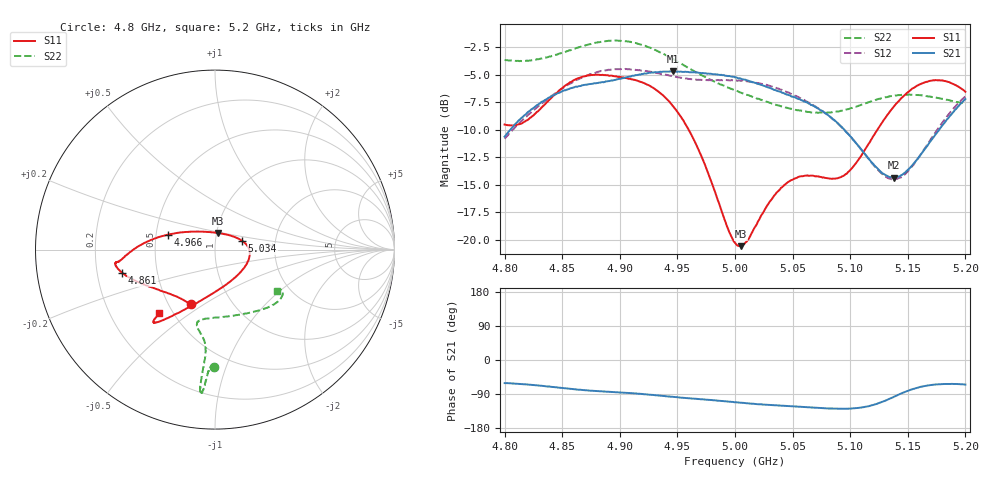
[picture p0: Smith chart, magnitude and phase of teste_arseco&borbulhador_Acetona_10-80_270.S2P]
! Network Analyzer HP8722D
! Hewlett-Packard
! Data name: Linha & Wilkinson
! Saver's name: Rodrigo Anjos
! Comments: Teste da utilização de aquisição
! continua pelo VNA HP8722D
! Time and date: 17/4/2025 16:36
!  Frequency  S11  S21  S12  S22
# HZ  S  MA R 50
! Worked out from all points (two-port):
!   401 points, 4.8 GHz to 5.2 GHz, reference 50 ohm
!   highest |S21| = -4.70 dB at 4.946 GHz (marker M1); lowest = -14.3 dB at 5.138 GHz (marker M2)
!   |S21| within 3 dB of the highest: 4.829 GHz to 5.065 GHz (236.2 MHz wide, 4.77 % of centre); 5.195306 GHz to end of sweep
!   lowest |S11| = -20.6 dB at 5.005 GHz (marker M3), VSWR 1.21, Z = 50.8 + j9.46 ohm
!   |S11| at or under -10 dB: 4.96 GHz to 5.124 GHz (163.7 MHz wide, 3.25 % of centre)
!   |S22| runs from -8.5 to -1.9 dB; largest |S21 - S12| = 0.87
!   S11 on the Smith chart (normalised r, x): 4.8 GHz: 0.64, -0.44; 4.861 GHz: 0.31, -0.11; 4.966 GHz: 0.58, +0.11; 5.034 GHz: 1.35, +0.14; 5.2 GHz: 0.42, -0.39
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4.8e9  0.3342 -114.0  0.2942 -60.9  0.2882 -175.2  0.6555 -90.3
4.819e9  0.3486 -134.0  0.3746 -64.4  0.3633 -174.0  0.6515 -91.9
4.861e9  0.5338 -165.9  0.4946 -77.5  0.5268 -177.3  0.7377 -94.1
4.867e9  0.5488 -168.4  0.5024 -79.1  0.5454 -178.4  0.7559 -94.3
4.899e9  0.5495 -172.8  0.5378 -85.4  0.5957 175.1  0.802 -95.6
4.934e9  0.4693 -178.7  0.5781 -93.9  0.5703 171.5  0.7132 -96.0
4.946e9  0.4067 175.8  0.5822 -97.4  0.5545 171.9  0.6626 -95.8
4.966e9  0.2733 162.1  0.576 -102.4  0.5346 173.5  0.5776 -95.2
5e9  0.09711 98.4  0.5471 -111.4  0.5307 175.8  0.4774 -99.3
5.005e9  0.09375 80.1  0.5398 -112.8  0.5278 175.8  0.4662 -100.5
5.012e9  0.1013 57.3  0.5267 -114.5  0.5236 175.6  0.4533 -102.0
5.034e9  0.1589 18.1  0.48 -119.4  0.4929 174.6  0.4127 -103.6
5.049e9  0.1871 3.1  0.4474 -121.8  0.4596 174.0  0.3938 -99.6
5.067e9  0.1957 -16.1  0.4093 -125.3  0.4125 173.4  0.379 -90.3
5.086e9  0.1898 -46.3  0.3509 -128.3  0.3501 173.6  0.3809 -75.8
5.097e9  0.1999 -68.7  0.3068 -128.6  0.308 174.7  0.3911 -66.8
5.123e9  0.313 -108.6  0.2129 -115.8  0.2107 -170.4  0.4338 -48.5
5.134e9  0.3797 -117.5  0.1932 -102.6  0.1898 -155.6  0.4481 -43.0
5.138e9  0.4041 -119.7  0.1917 -96.9  0.1884 -149.3  0.451 -41.3
5.15e9  0.4676 -125.0  0.2078 -81.4  0.2046 -131.1  0.4564 -36.9
5.17e9  0.5278 -129.6  0.2818 -66.1  0.2869 -112.4  0.4468 -32.2
5.2e9  0.4704 -131.1  0.4359 -64.8  0.448 -106.8  0.4155 -33.6
